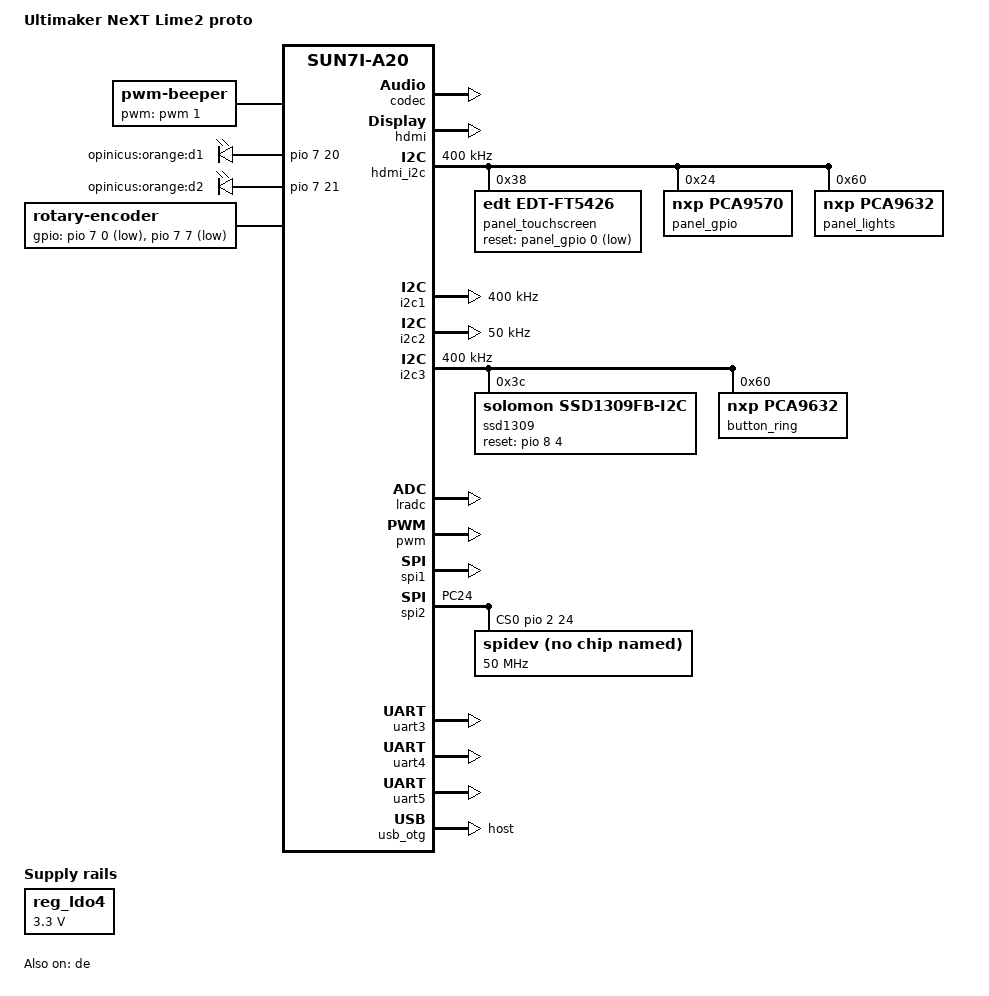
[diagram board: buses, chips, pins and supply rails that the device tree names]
/*
 * Copyright 2017 - Ultimaker B.V.
 * Author Olliver Schinagl <o.schinagl@ultimaker.com>
 *
 * This file is dual-licensed: you can use it either under the terms
 * of the GPL or the X11 license, at your option. Note that this dual
 * licensing only applies to this file, and not this project as a
 * whole.
 *
 *  a) This file is free software; you can redistribute it and/or
 *     modify it under the terms of the GNU General Public License as
 *     published by the Free Software Foundation; either version 2 of the
 *     License, or (at your option) any later version.
 *
 *     This file is distributed in the hope that it will be useful,
 *     but WITHOUT ANY WARRANTY; without even the implied warranty of
 *     MERCHANTABILITY or FITNESS FOR A PARTICULAR PURPOSE.  See the
 *     GNU General Public License for more details.
 *
 * Or, alternatively,
 *
 *  b) Permission is hereby granted, free of charge, to any person
 *     obtaining a copy of this software and associated documentation
 *     files (the "Software"), to deal in the Software without
 *     restriction, including without limitation the rights to use,
 *     copy, modify, merge, publish, distribute, sublicense, and/or
 *     sell copies of the Software, and to permit persons to whom the
 *     Software is furnished to do so, subject to the following
 *     conditions:
 *
 *     The above copyright notice and this permission notice shall be
 *     included in all copies or substantial portions of the Software.
 *
 *     THE SOFTWARE IS PROVIDED "AS IS", WITHOUT WARRANTY OF ANY KIND,
 *     EXPRESS OR IMPLIED, INCLUDING BUT NOT LIMITED TO THE WARRANTIES
 *     OF MERCHANTABILITY, FITNESS FOR A PARTICULAR PURPOSE AND
 *     NONINFRINGEMENT. IN NO EVENT SHALL THE AUTHORS OR COPYRIGHT
 *     HOLDERS BE LIABLE FOR ANY CLAIM, DAMAGES OR OTHER LIABILITY,
 *     WHETHER IN AN ACTION OF CONTRACT, TORT OR OTHERWISE, ARISING
 *     FROM, OUT OF OR IN CONNECTION WITH THE SOFTWARE OR THE USE OR
 *     OTHER DEALINGS IN THE SOFTWARE.
 */

#include "sun7i-a20-olinuxino-lime2-emmc.dts"

#include <dt-bindings/gpio/gpio.h>
#include <dt-bindings/input/input.h>
#include <dt-bindings/pinctrl/sun4i-a10.h>
#include <dt-bindings/pwm/pwm.h>

/ {
	model = "Ultimaker NeXT Lime2 proto";
	compatible = "ultimaker,lime2-next", "olimex,a20-olinuxino-lime2", "allwinner,sun7i-a20";

	beeper {
		pwm-names = "opinicus-board-beeper";
		compatible = "pwm-beeper";
		pwms = <&pwm 1 500000 0>;
		status = "okay";
	};

	leds {
		green {
			linux,default-trigger = "mmc0";
		};

		d1 {
			label = "opinicus:orange:d1";
			gpios = <&pio 7 20 GPIO_ACTIVE_HIGH>;
			default-state = "on";
		};

		d2 {
			label = "opinicus:orange:d2";
			gpios = <&pio 7 21 GPIO_ACTIVE_HIGH>;
			default-state = "on";
		};
	};

	rotary {
		pinctrl-names = "default";
		pinctrl-0 = <&rotary_pins_opinicus>;
		compatible = "rotary-encoder";
		gpios = <&pio 7 0 GPIO_ACTIVE_LOW>, <&pio 7 7 GPIO_ACTIVE_LOW>; /* todo; named gpios!! */
		linux,axis = <8>; /* REL_Z: TODO add to dt-include and possible add 'LEFT' axis */
		rotary-encoder,relative-axis;
		rotary-encoder,steps-per-period = <4>;
		status = "okay";
	};
};

&codec {
	status = "okay";
};

&de {
	status = "okay";
};

&hdmi {
	status = "okay";
};

&hdmi_i2c {
	clock-frequency = <400000>;

	panel_touchscreen: ft5426@38 {
		compatible = "edt,edt-ft5426";
		reg = <0x38>;
		poll-interval = <50>;
		reset-gpios = <&panel_gpio 0 GPIO_ACTIVE_LOW>;

		touchscreen-min-size-x = <0>;
		touchscreen-max-size-x = <800>;
		touchscreen-min-size-y = <0>;
		touchscreen-max-size-y = <320>;
	};

	panel_gpio: pca9570@24 {
		compatible = "nxp,pca9570";
		gpio-controller;
		#gpio-cells = <2>;
		reg = <0x24>;
	};

	panel_lights: pca9632@60 {
		compatible = "nxp,pca9632";
		#address-cells = <1>;
		#size-cells = <0>;
		reg = <0x60>;
		nxp,totem-pole;
		nxp,hw-blink;

		red@0 {
			label = "red:panel_indicator";
			reg = <0>;
			linux,default-trigger = "none";
		};

		green@1 {
			label = "green:panel_indicator";
			reg = <1>;
			linux,default-trigger = "none";
		};

		blue@2 {
			label = "blue:panel_indicator";
			reg = <2>;
			linux,default-trigger = "none";
		};

		panel_backlight: backlight@3 {
			label = "white:panel_backlight";
			reg = <3>;
			linux,default-trigger = "default-on";
		};
	};
};

&i2c1 {
	pinctrl-names = "default";
	pinctrl-0 = <&i2c1_pins_a>;
	clock-frequency = <400000>;
	status = "okay";
};

&i2c2 {
	pinctrl-names = "default";
	pinctrl-0 = <&i2c2_pins_a>;
	clock-frequency = <50000>;
	status = "okay";
};

&i2c3 {
	pinctrl-names = "default";
	pinctrl-0 = <&i2c3_pins_a>;
	clock-frequency = <400000>;
	status = "okay";

	ssd1309@3c {
		compatible = "solomon,ssd1309fb-i2c";
		pinctrl-names = "default";
		pinctrl-0 = <&oled_pins_opinicus>;
		reg = <0x3c>;
		reset-gpios = <&pio 8 4 GPIO_ACTIVE_HIGH>;
		solomon,width = <128>;
		solomon,height = <64>;
		solomon,com-invdir;
		solomon,page-offset = <0>;
		solomon,prechargep1 = <2>;
		solomon,prechargep2 = <8>;
	};

	button_ring@60 {
		compatible = "nxp,pca9632";
		#address-cells = <1>;
		#size-cells = <0>;
		reg = <0x60>;
		nxp,totem-pole;
		nxp,inverted-out;
		nxp,hw-blink;

		red@0 {
			label = "red:button_ring";
			reg = <0>;
			linux,default-trigger = "none";
		};

		green@1 {
			label = "green:button_ring";
			reg = <1>;
			linux,default-trigger = "default-on";
		};

		blue@2 {
			label = "blue:button_ring";
			reg = <2>;
			linux,default-trigger = "default-on";
		};

		unused@3 {
			label = "unused";
			reg = <3>;
			linux,default-trigger = "none";
		};
	};
};

&lradc {
	status = "okay";

	button {
		label = "Encoder click";
		linux,code = <KEY_ENTER>;
		channel = <0>;
		voltage = <0>;
	};
};

&pio {
	spi2_cs_pins: cs_pins {
		pins = "PC24";
		function = "gpio_out";
		bias-pull-up;
	};

	led_pins_opinicus: led_pins {
		pins = "PH20", "PH21";
		function = "gpio_out";
		drive-strength = <20>;
		bias-disabled;
	};

	oled_pins_opinicus: oled_pins {
		pins = "PI4";
		function = "gpio_out";
		bias-pull-down;
	};

	rotary_pins_opinicus: rotary_pins {
		pins = "PH0", "PH7";
		function = "gpio_in";
		bias-pull-up;
	};
};

&pwm {
	pinctrl-names = "default";
	pinctrl-0 = <&pwm1_pins_a>;
	status = "okay";
};

&reg_ldo4 {
	regulator-always-on;
	regulator-min-microvolt = <3300000>;
	regulator-max-microvolt = <3300000>;
	regulator-name = "vddio-pg";
};

&spi1 {
	pinctrl-names = "default";
	pinctrl-0 = <&spi1_pins_a>;
	status = "okay";
};

&spi2 {
	pinctrl-names = "default";
	pinctrl-0 = <&spi2_pins_a>, <&spi2_cs_pins>;
	cs-gpios = <&pio 2 24 GPIO_ACTIVE_HIGH>;
	status = "okay";

	spidev@0 {
		compatible = "linux,spidev";
		spi-max-frequency = <50000000>;
		reg = <0>;
	};
};

&uart3 {
	pinctrl-names = "default";
	pinctrl-0 = <&uart3_pins_a>;
	cts-override;
	status = "okay";
};

&uart4 {
	pinctrl-names = "default";
	pinctrl-0 = <&uart4_pins_a>;
	status = "okay";
};

&uart5 {
	pinctrl-names = "default";
	pinctrl-0 = <&uart5_pins_a>;
	status = "okay";
};

&usb_otg {
	dr_mode = "host";
};

&usbphy {
	/* Unset otg detect pins as we force dr_mode */
	/delete-property/ usb0_id_det-gpio;
	/delete-property/ usb0_vbus_det-gpio;
};
